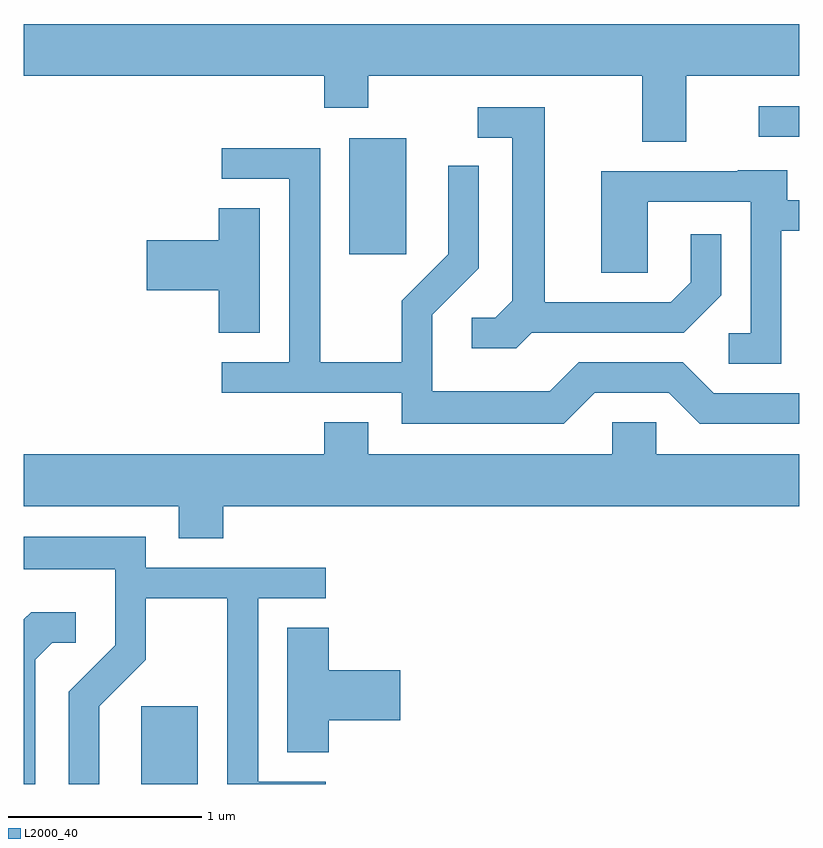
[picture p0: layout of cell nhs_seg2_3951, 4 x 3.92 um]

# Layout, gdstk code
import gdstk
lib = gdstk.Library(unit=1e-6, precision=1e-09)
def R(c, l, rs):  # rectangles x0, y0, x1, y1
    for r in rs: c.add(gdstk.rectangle(r[:2], r[2:], *l))
def P(c, l, *ps):  # polygons
    for p in ps: c.add(gdstk.Polygon(p, *l))
L2000_40 = (2000, 40)

nhs_seg2_3951 = lib.new_cell('nhs_seg2_3951')
R(nhs_seg2_3951, L2000_40, [(302.216,1015.802,302.509,1016.204), (303.291,1018.536,303.584,1019.134), (305.403,1019.141,305.611,1019.299)])
P(nhs_seg2_3951, L2000_40, [(305.029,1019.456),(305.611,1019.456),(305.611,1019.724),(301.611,1019.724),(301.611,1019.456),(303.161,1019.456),(303.161,1019.291),(303.389,1019.291),(303.389,1019.456),(304.801,1019.456),(304.801,1019.116),(305.029,1019.116)],
  [(304.232,1018.131),(305.017,1018.131),(305.209,1018.324),(305.209,1018.638),(305.051,1018.638),(305.051,1018.392),(304.949,1018.289),(304.299,1018.289),(304.299,1019.294),(303.953,1019.294),(303.953,1019.136),(304.131,1019.136),(304.131,1018.297),(304.044,1018.209),(303.923,1018.209),(303.923,1018.051),(304.152,1018.051)],
  [(304.557,1017.821),(304.939,1017.821),(305.099,1017.661),(305.611,1017.661),(305.611,1017.819),(305.172,1017.819),(305.012,1017.979),(304.474,1017.979),(304.324,1017.829),(303.719,1017.829),(303.719,1018.224),(303.959,1018.464),(303.959,1018.993),(303.801,1018.993),(303.801,1018.537),(303.561,1018.297),(303.561,1017.979),(303.139,1017.979),(303.139,1019.084),(302.633,1019.084),(302.633,1018.926),(302.981,1018.926),(302.981,1017.979),(302.633,1017.979),(302.633,1017.821),(303.561,1017.821),(303.561,1017.661),(304.397,1017.661)],
  [(305.519,1018.656),(305.611,1018.656),(305.611,1018.814),(305.549,1018.814),(305.549,1018.969),(305.295,1018.969),(305.295,1018.964),(304.591,1018.964),(304.591,1018.441),(304.829,1018.441),(304.829,1018.806),(305.361,1018.806),(305.361,1018.129),(305.248,1018.129),(305.248,1017.971),(305.519,1017.971)],
  [(302.829,1018.774),(302.616,1018.774),(302.616,1018.609),(302.246,1018.609),(302.246,1018.351),(302.616,1018.351),(302.616,1018.131),(302.829,1018.131)],
  [(302.639,1017.236),(305.611,1017.236),(305.611,1017.504),(304.874,1017.504),(304.874,1017.669),(304.646,1017.669),(304.646,1017.504),(303.389,1017.504),(303.389,1017.669),(303.161,1017.669),(303.161,1017.504),(301.611,1017.504),(301.611,1017.236),(302.411,1017.236),(302.411,1017.071),(302.639,1017.071)],
  [(301.999,1016.204),(302.239,1016.444),(302.239,1016.761),(302.661,1016.761),(302.661,1015.802),(303.168,1015.802),(303.168,1015.814),(302.819,1015.814),(302.819,1016.761),(303.168,1016.761),(303.168,1016.919),(302.239,1016.919),(302.239,1017.079),(301.611,1017.079),(301.611,1016.911),(302.081,1016.911),(302.081,1016.517),(301.841,1016.277),(301.841,1015.802),(301.999,1015.802)],
  [(301.669,1016.444),(301.757,1016.531),(301.878,1016.531),(301.878,1016.689),(301.649,1016.689),(301.611,1016.651),(301.611,1015.802),(301.669,1015.802)],
  [(303.184,1016.131),(303.554,1016.131),(303.554,1016.389),(303.184,1016.389),(303.184,1016.609),(302.971,1016.609),(302.971,1015.966),(303.184,1015.966)])

lib.write_gds('nhs_seg2_3951.gds')
